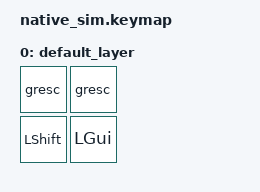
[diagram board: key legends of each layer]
#include <dt-bindings/zmk/keys.h>
#include <behaviors.dtsi>
#include <dt-bindings/zmk/input_mock.h>

/*
This test checks nothing breaks if two grave-escapes are pressed at the same time.
If someone ever really needs two, they can make a second behavior definition.

The second gresc that is pressed is ignored.
The first gresc that is released releases the key.
*/

/ {
    keymap {
        compatible = "zmk,keymap";

        default_layer {
            bindings = <
                &gresc         &gresc
                &kp LEFT_SHIFT &kp LEFT_GUI
            >;
        };
    };
};

&mock_input {
    events = <
        /* esc */
        ZMK_INPUT_MOCK_PRESS(0,0,10)
        ZMK_INPUT_MOCK_PRESS(0,1,10) /* the second gresc is ignored */
        ZMK_INPUT_MOCK_RELEASE(0,0,10)
        ZMK_INPUT_MOCK_RELEASE(0,1,10) /* the second gresc is ignored */

        /* ~ */
        ZMK_INPUT_MOCK_PRESS(1,0,10)
        ZMK_INPUT_MOCK_PRESS(0,1,10)
        ZMK_INPUT_MOCK_PRESS(0,0,10)  /* the second gresc is ignored */
        ZMK_INPUT_MOCK_RELEASE(1,0,10)
        ZMK_INPUT_MOCK_RELEASE(0,1,10)
        ZMK_INPUT_MOCK_RELEASE(0,0,10)  /* the second gresc is ignored */
    >;
};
